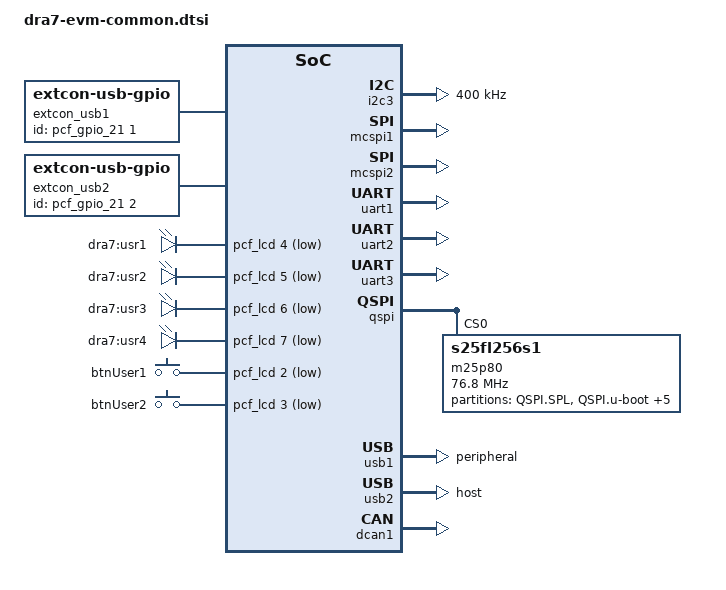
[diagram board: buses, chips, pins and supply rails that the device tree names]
/*
 * Copyright (C) 2017 Texas Instruments Incorporated - http://www.ti.com/
 *
 * This program is free software; you can redistribute it and/or modify
 * it under the terms of the GNU General Public License version 2 as
 * published by the Free Software Foundation.
 */

#include <dt-bindings/gpio/gpio.h>
#include <dt-bindings/input/input.h>

/ {
	chosen {
		stdout-path = &uart1;
		tick-timer = &timer2;
	};

	extcon_usb1: extcon_usb1 {
		compatible = "linux,extcon-usb-gpio";
		id-gpio = <&pcf_gpio_21 1 GPIO_ACTIVE_HIGH>;
	};

	extcon_usb2: extcon_usb2 {
		compatible = "linux,extcon-usb-gpio";
		id-gpio = <&pcf_gpio_21 2 GPIO_ACTIVE_HIGH>;
	};

	leds {
		compatible = "gpio-leds";
		led@0 {
			label = "dra7:usr1";
			gpios = <&pcf_lcd 4 GPIO_ACTIVE_LOW>;
			default-state = "off";
		};

		led@1 {
			label = "dra7:usr2";
			gpios = <&pcf_lcd 5 GPIO_ACTIVE_LOW>;
			default-state = "off";
		};

		led@2 {
			label = "dra7:usr3";
			gpios = <&pcf_lcd 6 GPIO_ACTIVE_LOW>;
			default-state = "off";
		};

		led@3 {
			label = "dra7:usr4";
			gpios = <&pcf_lcd 7 GPIO_ACTIVE_LOW>;
			default-state = "off";
		};
	};

	gpio_keys {
		compatible = "gpio-keys";
		#address-cells = <1>;
		#size-cells = <0>;
		autorepeat;

		USER1 {
			label = "btnUser1";
			linux,code = <BTN_0>;
			gpios = <&pcf_lcd 2 GPIO_ACTIVE_LOW>;
		};

		USER2 {
			label = "btnUser2";
			linux,code = <BTN_1>;
			gpios = <&pcf_lcd 3 GPIO_ACTIVE_LOW>;
		};
	};
};

&dra7_pmx_core {
	dcan1_pins_default: dcan1_pins_default {
		pinctrl-single,pins = <
			0x3d0   (PIN_OUTPUT_PULLUP | MUX_MODE0) /* dcan1_tx */
			0x418   (PULL_UP | MUX_MODE1) /* wakeup0.dcan1_rx */
		>;
	};

	dcan1_pins_sleep: dcan1_pins_sleep {
		pinctrl-single,pins = <
			0x3d0   (MUX_MODE15 | PULL_UP)	/* dcan1_tx.off */
			0x418   (MUX_MODE15 | PULL_UP)	/* wakeup0.off */
		>;
	};
};

&i2c3 {
	status = "okay";
	clock-frequency = <400000>;
};

&mcspi1 {
	status = "okay";
};

&mcspi2 {
	status = "okay";
};

&uart1 {
	status = "okay";
	interrupts-extended = <&crossbar_mpu GIC_SPI 67 IRQ_TYPE_LEVEL_HIGH>,
			      <&dra7_pmx_core 0x3e0>;
};

&uart2 {
	status = "okay";
};

&uart3 {
	status = "okay";
};


&qspi {
	status = "okay";

	spi-max-frequency = <76800000>;
	m25p80@0 {
		compatible = "s25fl256s1";
		spi-max-frequency = <76800000>;
		reg = <0>;
		spi-tx-bus-width = <1>;
		spi-rx-bus-width = <4>;
		#address-cells = <1>;
		#size-cells = <1>;

		/* MTD partition table.
		 * The ROM checks the first four physical blocks
		 * for a valid file to boot and the flash here is
		 * 64KiB block size.
		 */
		partition@0 {
			label = "QSPI.SPL";
			reg = <0x00000000 0x000040000>;
		};
		partition@1 {
			label = "QSPI.u-boot";
			reg = <0x00040000 0x00100000>;
		};
		partition@2 {
			label = "QSPI.u-boot-spl-os";
			reg = <0x00140000 0x00080000>;
		};
		partition@3 {
			label = "QSPI.u-boot-env";
			reg = <0x001c0000 0x00010000>;
		};
		partition@4 {
			label = "QSPI.u-boot-env.backup1";
			reg = <0x001d0000 0x0010000>;
		};
		partition@5 {
			label = "QSPI.kernel";
			reg = <0x001e0000 0x0800000>;
		};
		partition@6 {
			label = "QSPI.file-system";
			reg = <0x009e0000 0x01620000>;
		};
	};
};

&omap_dwc3_1 {
	extcon = <&extcon_usb1>;
};

&omap_dwc3_2 {
	extcon = <&extcon_usb2>;
};

&usb1 {
	dr_mode = "peripheral";
};

&usb2 {
	dr_mode = "host";
};

&dcan1 {
	status = "ok";
	pinctrl-names = "default", "sleep", "active";
	pinctrl-0 = <&dcan1_pins_sleep>;
	pinctrl-1 = <&dcan1_pins_sleep>;
	pinctrl-2 = <&dcan1_pins_default>;
};
